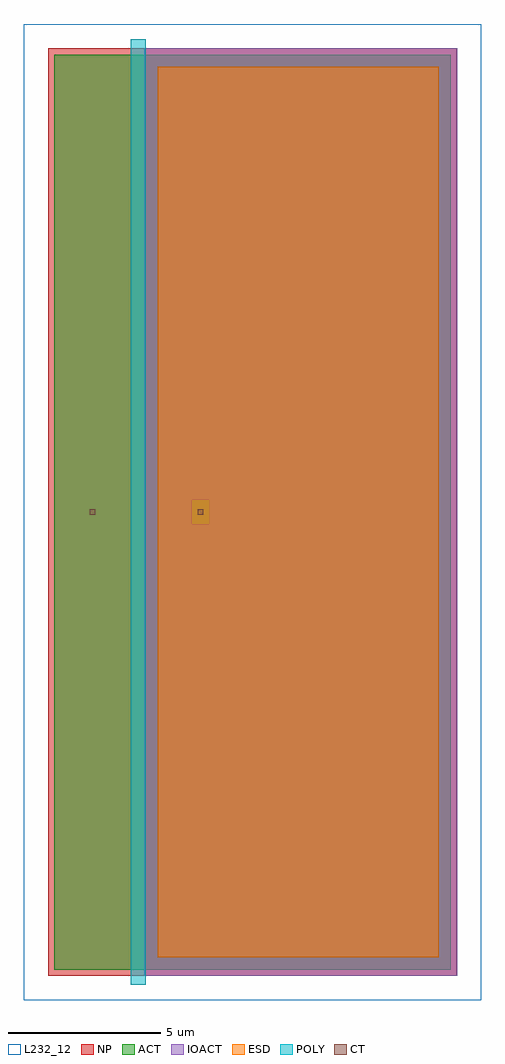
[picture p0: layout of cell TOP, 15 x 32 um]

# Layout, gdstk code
import gdstk
lib = gdstk.Library(unit=1e-6, precision=1e-09)
def R(c, l, rs):  # rectangles x0, y0, x1, y1
    for r in rs: c.add(gdstk.rectangle(r[:2], r[2:], *l))
ACT = (2, 1)
POLY = (41, 1)
NP = (52, 1)
ESD = (55, 1)
IOACT = (71, 1)
CT = (72, 1)
L232_12 = (232, 12)

top = lib.new_cell('TOP')
R(top, ACT, [(0,0,13,30)])
R(top, POLY, [(2.5,-0.5,3,30.5)])
R(top, NP, [(-0.2,-0.2,13.2,30.2)])
R(top, ESD, [(3.4,0.4,12.6,29.6)])
R(top, IOACT, [(2.95,-0.21,13.21,14.6), (2.95,14.6,4.5,15.4), (5.1,14.6,13.21,15.4), (2.95,15.4,13.21,30.21)])
R(top, CT, [(1.16,14.91,1.34,15.09), (4.71,14.91,4.89,15.09)])
R(top, L232_12, [(-1,-1,14,31)])

lib.write_gds('TOP.gds')
